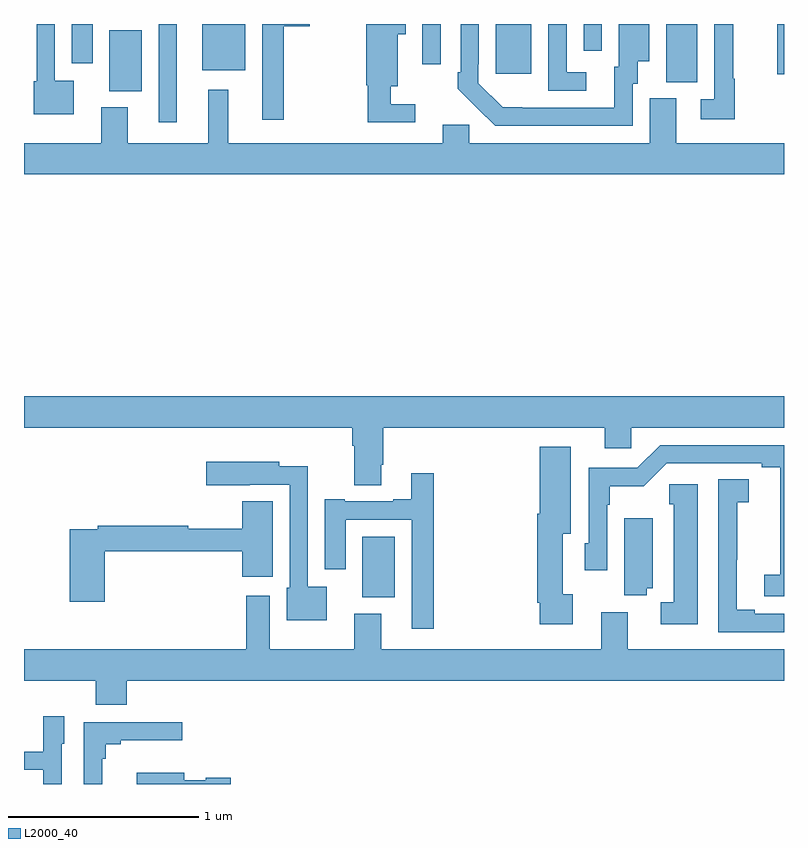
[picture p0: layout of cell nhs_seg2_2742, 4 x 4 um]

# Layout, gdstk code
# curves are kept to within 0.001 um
import gdstk
lib = gdstk.Library(unit=1e-6, precision=1e-09)
def R(c, l, rs):  # rectangles x0, y0, x1, y1
    for r in rs: c.add(gdstk.rectangle(r[:2], r[2:], *l))
def P(c, l, *ps):  # polygons
    for p in ps: c.add(gdstk.Polygon(p, *l))
L2000_40 = (2000, 40)

nhs_seg2_2742 = lib.new_cell('nhs_seg2_2742')
R(nhs_seg2_2742, L2000_40, [(256.781,606.782,256.951,607.102), (255.708,609.282,255.805,609.8), (255.449,609.446,255.619,609.766), (258.38,609.493,258.544,609.8), (258.965,609.536,259,609.8), (257.483,609.537,257.671,609.8), (255.938,609.557,256.165,609.8), (257.097,609.588,257.193,609.8), (255.251,609.594,255.361,609.8), (257.946,609.66,258.042,609.8)])
P(nhs_seg2_2742, L2000_40, [(258.204,609.486),(258.229,609.486),(258.229,609.605),(258.292,609.605),(258.292,609.8),(258.131,609.8),(258.131,609.576),(258.107,609.576),(258.107,609.36),(257.52,609.361),(257.391,609.489),(257.391,609.589),(257.394,609.589),(257.394,609.8),(257.298,609.8),(257.298,609.547),(257.283,609.547),(257.283,609.459),(257.48,609.264),(258.204,609.264)],
  [(258.742,609.512),(258.732,609.512),(258.732,609.8),(258.633,609.8),(258.633,609.405),(258.561,609.405),(258.561,609.3),(258.742,609.3)],
  [(256.367,609.788),(256.504,609.788),(256.504,609.8),(256.253,609.8),(256.253,609.297),(256.367,609.297)],
  [(257.059,609.378),(256.93,609.378),(256.93,609.473),(256.966,609.473),(256.966,609.746),(257.008,609.746),(257.008,609.8),(256.801,609.8),(256.801,609.477),(256.809,609.477),(256.809,609.282),(257.059,609.282)],
  [(257.959,609.546),(257.856,609.546),(257.856,609.8),(257.76,609.8),(257.76,609.45),(257.959,609.45)],
  [(255.262,609.502),(255.162,609.502),(255.162,609.8),(255.066,609.8),(255.066,609.498),(255.05,609.498),(255.05,609.326),(255.262,609.326)],
  [(259,609.172),(258.433,609.172),(258.433,609.408),(258.293,609.408),(258.293,609.172),(257.343,609.172),(257.343,609.27),(257.204,609.27),(257.204,609.172),(256.075,609.172),(256.075,609.454),(255.971,609.454),(255.971,609.172),(255.547,609.172),(255.547,609.361),(255.407,609.361),(255.407,609.172),(255,609.172),(255,609.008),(259,609.008)],
  [(256.879,607.48),(256.892,607.48),(256.892,607.676),(258.056,607.676),(258.056,607.566),(258.195,607.566),(258.195,607.676),(259,607.676),(259,607.84),(255,607.84),(255,607.676),(256.727,607.676),(256.727,607.58),(256.739,607.58),(256.739,607.372),(256.879,607.372)],
  [(259,607.584),(258.348,607.584),(258.228,607.464),(257.973,607.464),(257.973,607.068),(257.952,607.068),(257.952,606.924),(258.069,606.924),(258.069,607.271),(258.082,607.271),(258.082,607.367),(258.263,607.367),(258.384,607.488),(258.884,607.488),(258.884,607.468),(258.98,607.468),(258.979,606.902),(258.897,606.902),(258.897,606.787),(259,606.787)],
  [(257.887,606.798),(257.836,606.798),(257.836,607.118),(257.878,607.118),(257.878,607.576),(257.714,607.576),(257.714,607.222),(257.702,607.222),(257.702,606.754),(257.714,606.754),(257.714,606.642),(257.887,606.642)],
  [(256.594,606.838),(256.494,606.838),(256.494,607.472),(256.344,607.472),(256.344,607.495),(255.96,607.495),(255.96,607.373),(256.187,607.373),(256.187,607.374),(256.398,607.374),(256.398,606.834),(256.382,606.834),(256.382,606.662),(256.594,606.662)],
  [(257.156,607.435),(257.039,607.435),(257.039,607.3),(256.943,607.3),(256.943,607.287),(256.687,607.287),(256.687,607.3),(256.583,607.3),(256.583,606.93),(256.693,606.93),(256.693,607.191),(257.04,607.191),(257.04,606.618),(257.156,606.618)],
  [(259,606.696),(258.847,606.696),(258.847,606.716),(258.751,606.716),(258.751,606.979),(258.753,606.979),(258.753,607.283),(258.814,607.283),(258.814,607.403),(258.654,607.403),(258.654,606.6),(259,606.6)],
  [(258.547,607.378),(258.397,607.378),(258.397,607.272),(258.419,607.272),(258.419,606.756),(258.351,606.756),(258.351,606.641),(258.547,606.641)],
  [(255.425,607.024),(256.148,607.024),(256.148,606.891),(256.309,606.891),(256.309,607.288),(256.148,607.288),(256.148,607.143),(255.864,607.143),(255.864,607.16),(255.388,607.16),(255.388,607.14),(255.242,607.14),(255.242,606.759),(255.425,606.759)],
  [(258.278,606.83),(258.31,606.83),(258.31,607.198),(258.158,607.198),(258.158,606.793),(258.278,606.793)],
  [(255.541,606.344),(259,606.344),(259,606.508),(258.178,606.508),(258.178,606.703),(258.038,606.703),(258.038,606.508),(256.879,606.508),(256.879,606.697),(256.739,606.697),(256.739,606.508),(256.294,606.508),(256.294,606.79),(256.169,606.79),(256.169,606.508),(255,606.508),(255,606.344),(255.377,606.344),(255.377,606.216),(255.541,606.216)],
  [(255.198,606.012),(255.211,606.012),(255.211,606.157),(255.102,606.157),(255.102,605.971),(255,605.971),(255,605.874),(255.102,605.874),(255.102,605.8),(255.198,605.8)],
  [(255.413,605.933),(255.431,605.933),(255.431,606.01),(255.508,606.01),(255.508,606.029),(255.832,606.029),(255.832,606.126),(255.315,606.126),(255.315,605.8),(255.413,605.8)],
  [(256.087,605.834),(255.957,605.834),(255.957,605.821),(255.844,605.821),(255.844,605.86),(255.593,605.86),(255.593,605.8),(256.087,605.8)])

lib.write_gds('nhs_seg2_2742.gds')
